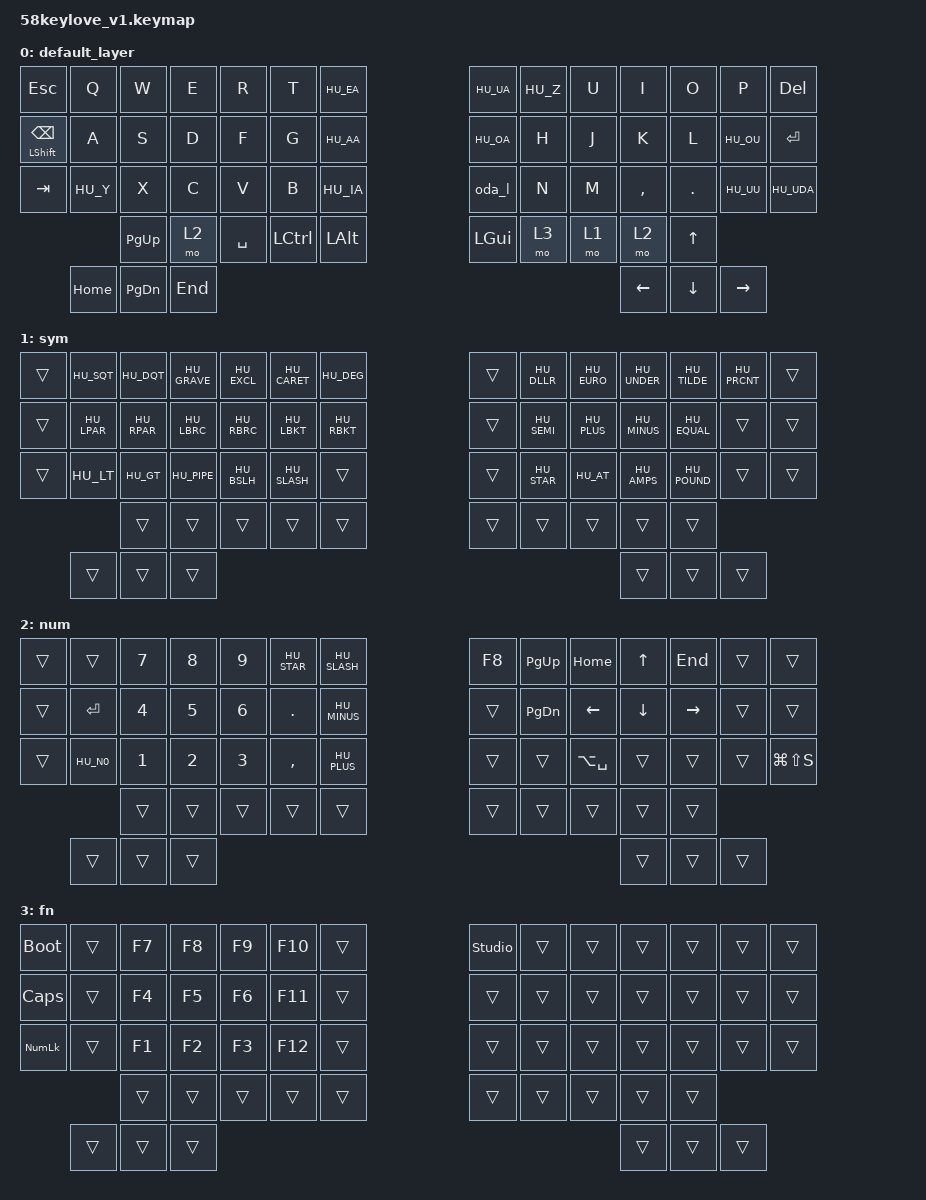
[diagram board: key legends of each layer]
#include <behaviors.dtsi>
#include <dt-bindings/zmk/keys.h>
#include <dt-bindings/zmk/outputs.h>
#include "keys_hu.h"


&mt {
    quick-tap-ms = <250>;
};

/ {
    combos {
        compatible = "zmk,combos";
        combo_bootloader {
            timeout-ms = <50>;
            key-positions = <6 7>;
            bindings = <&bootloader>;
        };
    };

    behaviors {
        oda_l: oda_l {
            compatible = "zmk,behavior-mod-morph";
            bindings = <&kp HU_ODA>, <&kp L>;
            #binding-cells = <0>;
            mods = <(MOD_LGUI)>;
            keep-mods = <(MOD_LGUI)>;
        };
    };

    keymap {
        compatible = "zmk,keymap";

        default_layer { // Layer 0
            bindings = <
                &kp ESC         &kp Q     &kp W      &kp E     &kp R  &kp T      &kp HU_EA                      &kp HU_UA   &kp HU_Z  &kp U  &kp I      &kp O    &kp P      &kp DEL
                &mt LSHFT BSPC  &kp A     &kp S      &kp D     &kp F  &kp G      &kp HU_AA                      &kp HU_OA   &kp H     &kp J  &kp K      &kp L    &kp HU_OU  &kp ENTER
                &kp TAB         &kp HU_Y  &kp X      &kp C     &kp V  &kp B      &kp HU_IA                      &oda_l      &kp N     &kp M  &kp COMMA  &kp DOT  &kp HU_UU  &kp HU_UDA
                                          &kp PG_UP            &mo 2  &kp SPACE  &kp LCTRL  &kp LALT  &kp LGUI  &mo 3       &mo 1     &mo 2             &kp UP
                                &kp HOME  &kp PG_DN  &kp END                                                                                 &kp LEFT   &kp DOWN &kp RIGHT
            >;
        };

        sym {
            bindings = <
                &trans  &kp HU_SQT   &kp HU_DQT   &kp HU_GRAVE &kp HU_EXCL  &kp HU_CARET  &kp HU_DEG                  &trans  &kp HU_DLLR  &kp HU_EURO  &kp HU_UNDER  &kp HU_TILDE  &kp HU_PRCNT  &trans
                &trans  &kp HU_LPAR  &kp HU_RPAR  &kp HU_LBRC  &kp HU_RBRC  &kp HU_LBKT   &kp HU_RBKT                 &trans  &kp HU_SEMI  &kp HU_PLUS  &kp HU_MINUS  &kp HU_EQUAL  &trans        &trans
                &trans  &kp HU_LT    &kp HU_GT    &kp HU_PIPE  &kp HU_BSLH  &kp HU_SLASH  &trans                      &trans  &kp HU_STAR  &kp HU_AT    &kp HU_AMPS   &kp HU_POUND  &trans        &trans
                                     &trans                    &trans       &trans        &trans       &trans &trans  &trans  &trans       &trans                     &trans
                        &trans       &trans       &trans                                                                                                &trans        &trans        &trans
            >;
        };

        num {
            bindings = <
                &trans  &trans     &kp N7  &kp N8  &kp N9  &kp HU_STAR  &kp HU_SLASH                 &kp F8    &kp PG_UP  &kp HOME       &kp UP    &kp END    &trans  &trans
                &trans  &kp ENTER  &kp N4  &kp N5  &kp N6  &kp DOT      &kp HU_MINUS                 &trans    &kp PG_DN  &kp LEFT       &kp DOWN  &kp RIGHT  &trans  &trans
                &trans  &kp HU_N0  &kp N1  &kp N2  &kp N3  &kp COMMA    &kp HU_PLUS                  &trans    &trans     &kp LA(SPACE)  &trans    &trans     &trans  &kp LG(LS(S))
                                   &trans          &trans  &trans       &trans        &trans &trans  &trans    &trans     &trans                   &trans
                        &trans     &trans  &trans                                                                                        &trans    &trans     &trans
            >;
        };
        fn {
            bindings = <
                &bootloader  &trans  &kp F7  &kp F8  &kp F9  &kp F10  &trans                 &studio_unlock  &trans  &trans  &trans  &trans  &trans  &trans
                &kp CAPS     &trans  &kp F4  &kp F5  &kp F6  &kp F11  &trans                 &trans          &trans  &trans  &trans  &trans  &trans  &trans
                &kp KP_NUM   &trans  &kp F1  &kp F2  &kp F3  &kp F12  &trans                 &trans          &trans  &trans  &trans  &trans  &trans  &trans
                                     &trans          &trans  &trans   &trans  &trans &trans  &trans          &trans  &trans          &trans
                             &trans  &trans  &trans                                                                          &trans  &trans  &trans
            >;
        };
    };
};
